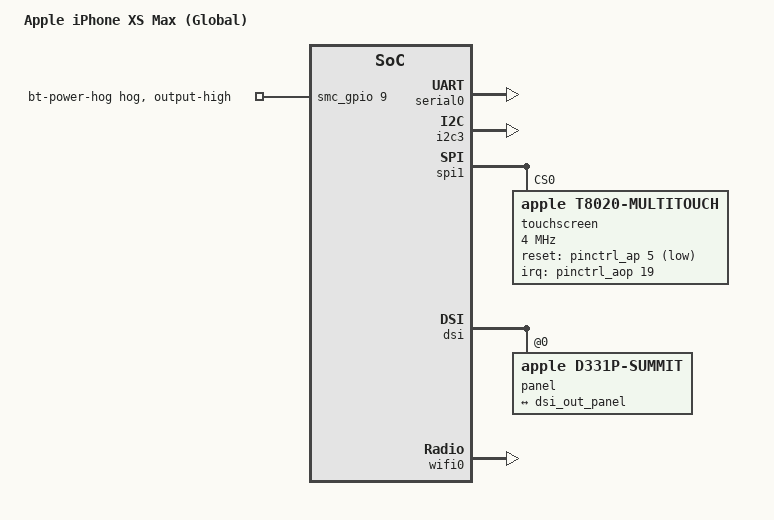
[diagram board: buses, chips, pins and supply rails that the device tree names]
// SPDX-License-Identifier: GPL-2.0+ OR MIT
/*
 * Apple iPhone XS Max (Global), D331p, iPhone11,6
 *
 * The SoC blocks in t8020.dtsi were diffed against the D321AP (iPhone XS)
 * DeviceTree and come out identical, so only this board file differs.
 *
 * Copyright (c) 2026, kiki <kieran@lavato.net>
 */

/dts-v1/;

#include "t8020.dtsi"

/ {
	compatible = "apple,d331p", "apple,t8020", "apple,arm-platform";
	model = "Apple iPhone XS Max (Global)";
	chassis-type = "handset";

	aliases {
		serial0 = &serial0;
		/*
		 * m1n1 looks this up with fdt_get_alias("ausbphy0") and copies
		 * cfg0-device, cfg1-device, cfg0-host and cfg1-host from the
		 * ADT's /arm-io/otgphyctrl into the node. Without the alias it
		 * returns 0 and silently copies nothing, the Linux ausb driver
		 * then fails of_property_read_u32("apple,cfg0-device") with
		 * -ENODEV, dwc2 never gets a PHY, no UDC is registered, and the
		 * gadget dies with "couldn't find an available UDC". A label is
		 * not enough, it has to be an alias.
		 */
		ausbphy0 = &ausbphy0;
		/* m1n1 enables it when iBoot preloaded its firmware. */
		gfxasc = &gfx_asc;
		/* m1n1 fills MAC addresses, antenna SKU and calibration through these. */
		wifi0 = &wifi0;
		bluetooth0 = &bluetooth0;
	};

	chosen {
		#address-cells = <2>;
		#size-cells = <2>;
		ranges;

		stdout-path = "serial0";

		/*
		 * This is the console you can actually read without a serial
		 * cable. m1n1 fills in the address and the format properties
		 * from the framebuffer iBoot already set up, then deletes the
		 * status property to enable it.
		 *
		 * The power-domains are load bearing, exactly as on T8015.
		 * Nothing else claims the display domains, so without this
		 * apple-pmgr-pwrstate powers them down as unused once boot gets
		 * far enough, and the screen goes black mid-boot with no error.
		 * An earlier version of this node left them out on the grounds
		 * that there was no pmgr node to gate anything; pmgr was added
		 * later and that reasoning silently stopped being true.
		 */
		framebuffer0: framebuffer@0 {
			compatible = "apple,simple-framebuffer", "simple-framebuffer";
			reg = <0 0 0 0>; /* To be filled by loader */
			power-domains = <&ps_disp0_be &ps_mipi_dsi &ps_disp0_hilo &ps_disp0_ppp>;
			status = "disabled";
		};
	};

	memory@800000000 {
		device_type = "memory";
		reg = <0x8 0 0 0>; /* To be filled by loader */
	};

	reserved-memory {
		#address-cells = <2>;
		#size-cells = <2>;
		ranges;

		/* To be filled by loader */
	};
};

&serial0 {
	status = "okay";
};

&i2c3 {
	status = "okay";
};

/*
 * Bring-up only: the driver powers the controller, reads one word from its
 * bootloader, and powers it down again. Reset is pin 5, active low, and the
 * power comes from the Acorn display PMU at 0x2a on i2c3, all from
 * /arm-io/spi1/multi-touch in the ADT. See docs/touch.md.
 */
&spi1 {
	status = "okay";

	touchscreen@0 {
		compatible = "apple,t8020-multitouch";
		reg = <0>;
		spi-max-frequency = <4000000>;
		/* Low while the controller has data, "touch" in the ADT. */
		interrupts-extended = <&pinctrl_aop 19 IRQ_TYPE_LEVEL_LOW>;
		reset-gpios = <&pinctrl_ap 5 1>;
		firmware-name = "apple/d331p-mtfw.bin";
		/*
		 * Positions come in hundredths of a millimetre over the whole
		 * panel, notch rows included: 1242x2688 at 458 ppi. Measured on
		 * the phone, x grows left to right and y bottom to top.
		 */
		touchscreen-size-x = <6890>;
		touchscreen-size-y = <14910>;
		touchscreen-inverted-y;
		apple,pmu-bus = <&i2c3>;
		apple,pmu-addr = <0x2a>;
	};
};

&dsi_out {
	dsi_out_panel: endpoint {
		remote-endpoint = <&panel_in>;
	};
};

/*
 * The ADT calls the panel lcd,summit, the same name as the Touch Bar's, and
 * AppleSummitLCD sets brightness the same way: DCS 0x51, low byte first for
 * an 11 bit level, which is what panel-summit sends. The range is the ADT's
 * /backlight DBVMax. DBVMin is 139 and iBoot leaves it at 740.
 */
&dsi {
	status = "okay";

	panel@0 {
		compatible = "apple,d331p-summit", "apple,summit";
		reg = <0>;
		max-brightness = <2047>;

		port {
			panel_in: endpoint {
				remote-endpoint = <&dsi_out_panel>;
			};
		};
	};
};

/*
 * The BCM4377. The board type is /arm-io/wlan module-instance and picks the
 * firmware the genie island uses.
 */
&port02 {
	wifi0: wifi@0,0 {
		compatible = "pci14e4,4488";
		reg = <0x10000 0x0 0x0 0x0 0x0>;
		brcm,board-type = "apple,geniek";
		local-mac-address = [00 00 00 00 00 00];
	};

	bluetooth0: bluetooth@0,1 {
		compatible = "pci14e4,5fa0";
		reg = <0x10100 0x0 0x0 0x0 0x0>;
		brcm,board-type = "apple,geniek";
		local-bd-address = [00 00 00 00 00 00];
	};
};

/* gP09, function-power_enable of /arm-io/bluetooth. The XR powers its UART
 * Bluetooth through an SMC function instead, so this is not in t8020.dtsi. */
&smc_gpio {
	bt-power-hog {
		gpio-hog;
		gpios = <9 0>;
		output-high;
	};
};
